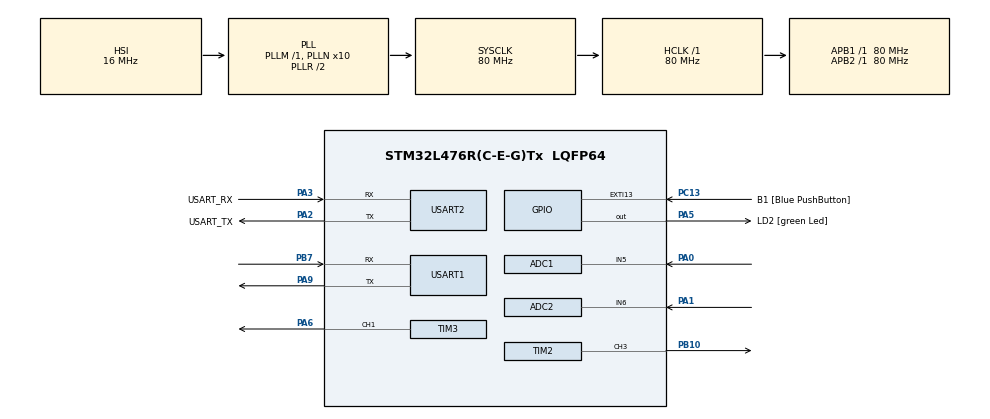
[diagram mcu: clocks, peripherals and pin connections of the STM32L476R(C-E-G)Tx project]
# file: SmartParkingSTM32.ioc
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ADC1.Channel-0\#ChannelRegularConversion=ADC_CHANNEL_5
ADC1.NbrOfConversionFlag=1
ADC1.OffsetNumber-0\#ChannelRegularConversion=ADC_OFFSET_NONE
ADC1.Rank-0\#ChannelRegularConversion=1
ADC1.SamplingTime-0\#ChannelRegularConversion=ADC_SAMPLETIME_2CYCLES_5
ADC1.master=1
ADC2.Channel-1\#ChannelRegularConversion=ADC_CHANNEL_6
ADC2.NbrOfConversionFlag=1
ADC2.OffsetNumber-1\#ChannelRegularConversion=ADC_OFFSET_NONE
ADC2.Rank-1\#ChannelRegularConversion=1
ADC2.SamplingTime-1\#ChannelRegularConversion=ADC_SAMPLETIME_2CYCLES_5
FREERTOS.Tasks01=defaultTask,0,128,StartDefaultTask,Default,NULL,Dynamic,NULL,NULL
FREERTOS.configUSE_NEWLIB_REENTRANT=1
Mcu.Family=STM32L4
Mcu.Name=STM32L476R(C-E-G)Tx
Mcu.Package=LQFP64
NVIC.ADC1_2_IRQn=true\:5\:0\:false\:false\:true\:true\:true\:true\:true
NVIC.PriorityGroup=NVIC_PRIORITYGROUP_4
NVIC.TIM1_UP_TIM16_IRQn=true\:15\:0\:false\:false\:true\:false\:false\:true\:true
NVIC.TIM2_IRQn=true\:5\:0\:false\:false\:true\:true\:true\:true\:true
NVIC.TIM3_IRQn=true\:5\:0\:false\:false\:true\:true\:true\:true\:true
NVIC.TimeBase=TIM1_UP_TIM16_IRQn
NVIC.TimeBaseIP=TIM1
NVIC.USART1_IRQn=true\:5\:0\:false\:false\:true\:true\:true\:true\:true
NVIC.USART2_IRQn=true\:5\:0\:false\:false\:true\:true\:true\:true\:true
PA0.Signal=ADCx_IN5
PA1.Signal=ADCx_IN6
PA11.Signal=S_TIM1_CH4
PA13\ (JTMS-SWDIO).GPIO_Label=TMS
PA13\ (JTMS-SWDIO).Mode=Serial_Wire
PA13\ (JTMS-SWDIO).Signal=SYS_JTMS-SWDIO
PA14\ (JTCK-SWCLK).GPIO_Label=TCK
PA14\ (JTCK-SWCLK).Mode=Serial_Wire
PA14\ (JTCK-SWCLK).Signal=SYS_JTCK-SWCLK
PA2.GPIO_Label=USART_TX
PA2.GPIO_Mode=GPIO_MODE_AF_PP
PA2.GPIO_PuPd=GPIO_NOPULL
PA2.GPIO_Speed=GPIO_SPEED_FREQ_VERY_HIGH
PA2.Mode=Asynchronous
PA2.Signal=USART2_TX
PA3.GPIO_Label=USART_RX
PA3.GPIO_Mode=GPIO_MODE_AF_PP
PA3.GPIO_PuPd=GPIO_NOPULL
PA3.GPIO_Speed=GPIO_SPEED_FREQ_VERY_HIGH
PA3.Mode=Asynchronous
PA3.Signal=USART2_RX
PA5.GPIO_Label=LD2 [green Led]
PA5.GPIO_ModeDefaultOutputPP=GPIO_MODE_OUTPUT_PP
PA5.GPIO_PuPd=GPIO_NOPULL
PA5.GPIO_Speed=GPIO_SPEED_FREQ_VERY_HIGH
PA5.Signal=GPIO_Output
PA6.Signal=S_TIM3_CH1
PA9.Mode=Asynchronous
PA9.Signal=USART1_TX
PB10.Signal=S_TIM2_CH3
PB3\ (JTDO-TRACESWO).GPIO_Label=SWO
PB3\ (JTDO-TRACESWO).Signal=SYS_JTDO-SWO
PB7.Mode=Asynchronous
PB7.Signal=USART1_RX
PC13.GPIO_Label=B1 [Blue PushButton]
PC13.GPIO_ModeDefaultEXTI=GPIO_MODE_IT_FALLING
PC13.GPIO_PuPd=GPIO_NOPULL
PC13.Signal=GPXTI13
PC14-OSC32_IN\ (PC14).Signal=RCC_OSC32_IN
PC15-OSC32_OUT\ (PC15).Signal=RCC_OSC32_OUT
PH0-OSC_IN\ (PH0).Mode=HSE-External-Oscillator
PH0-OSC_IN\ (PH0).Signal=RCC_OSC_IN
PH1-OSC_OUT\ (PH1).Mode=HSE-External-Oscillator
PH1-OSC_OUT\ (PH1).Signal=RCC_OSC_OUT
ProjectManager.HeapSize=0x200
ProjectManager.StackSize=0x400
ProjectManager.TargetToolchain=STM32CubeIDE
RCC.ADCFreq_Value=64000000
RCC.AHBFreq_Value=80000000
RCC.APB1Freq_Value=80000000
RCC.APB1TimFreq_Value=80000000
RCC.APB2Freq_Value=80000000
RCC.APB2TimFreq_Value=80000000
RCC.CortexFreq_Value=80000000
RCC.HCLKFreq_Value=80000000
RCC.HSE_VALUE=8000000
RCC.HSI_VALUE=16000000
RCC.LSE_VALUE=32768
RCC.MSI_VALUE=4000000
RCC.PLLN=10
RCC.PLLSourceVirtual=RCC_PLLSOURCE_HSI
RCC.PREFETCH_ENABLE=1
RCC.SYSCLKFreq_VALUE=80000000
RCC.SYSCLKSource=RCC_SYSCLKSOURCE_PLLCLK
RCC.USBFreq_Value=64000000
RCC.VCOOutputFreq_Value=160000000
SH.ADCx_IN5.0=ADC1_IN5,IN5-Single-Ended
SH.ADCx_IN6.0=ADC2_IN6,IN6-Single-Ended
SH.S_TIM1_CH4.0=TIM1_CH4
SH.S_TIM2_CH3.0=TIM2_CH3,PWM Generation3 CH3
SH.S_TIM3_CH1.0=TIM3_CH1,PWM Generation1 CH1
TIM2.Channel-PWM\ Generation3\ CH3=TIM_CHANNEL_3
TIM2.OCFastMode_PWM-PWM\ Generation3\ CH3=TIM_OCFAST_ENABLE
TIM2.Period=200-1
TIM2.Prescaler=127
TIM3.AutoReloadPreload=TIM_AUTORELOAD_PRELOAD_DISABLE
TIM3.Channel-PWM\ Generation1\ CH1=TIM_CHANNEL_1
TIM3.Period=2000-1
TIM3.Prescaler=127-1
USART1.VirtualMode-Asynchronous=VM_ASYNC
USART2.VirtualMode-Asynchronous=VM_ASYNC
VP_FREERTOS_VS_CMSIS_V1.Mode=CMSIS_V1
VP_SYS_VS_tim1.Mode=TIM1
VP_TIM2_VS_ClockSourceINT.Mode=Internal
VP_TIM3_VS_ClockSourceINT.Mode=Internal
board=NUCLEO-L476RG

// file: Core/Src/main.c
/* USER CODE BEGIN Header */
/**
  ******************************************************************************
  * @file           : main.c
  * @brief          : Main program body
  ******************************************************************************
  * @attention
  *
  * Copyright (c) 2022 STMicroelectronics.
  * All rights reserved.
  *
  * This software is licensed under terms that can be found in the LICENSE file
  * in the root directory of this software component.
  * If no LICENSE file comes with this software, it is provided AS-IS.
  *
  ******************************************************************************
  */
/* USER CODE END Header */
#include "main.h"
#include "cmsis_os.h"

/* USER CODE BEGIN PD */

//Tamanho das filas de transmissao e recepcao
//A fila de transmissao é maior do que a de recepcao por que a rotina de transmissao (write_string)
//pode enfileirar um numero maior de bytes de forma muito rapida
#define TX_QUEUE_SIZE 128
#define RX_QUEUE_SIZE 5
/* USER CODE END PD */

 ADC_HandleTypeDef hadc1;
ADC_HandleTypeDef hadc2;

TIM_HandleTypeDef htim2;
TIM_HandleTypeDef htim3;

osThreadId defaultTaskHandle;
/* USER CODE BEGIN PV */

//Variaveis que irao armazenar os hanldes das filas de tranmissao e recepcao
QueueHandle_t tx_queue;
QueueHandle_t rx_queue;

/*  */
//Button pressed event bit(flag)
#define BTN_PRESSED_Pos                         0U
#define BTN_PRESSED_Msk                         (1UL << BTN_PRESSED_Pos)

uint32_t pMillis;
uint32_t Value1 = 0;
uint32_t Value2 = 0;
uint16_t Distance  = 0;  // cm
char strCopy[15];

/* USER CODE END PV */

void SystemClock_Config(void);
void PeriphCommonClock_Config(void);
static void MX_GPIO_Init(void);
static void MX_USART2_UART_Init(void);
static void MX_USART1_UART_Init(void);
static void MX_ADC1_Init(void);
static void MX_TIM2_Init(void);
static void MX_ADC2_Init(void);
static void MX_TIM3_Init(void);
void StartDefaultTask(void const * argument);

/* USER CODE BEGIN PFP */

void task_PotentiometerSensor(void * argument);

/* Declare a variable to hold the created event group. */
static        EventGroupHandle_t xFlagsEventGroup;

/* USER CODE END PFP */

/* USER CODE BEGIN 0 */

//Tamanho das filas de transmissao e recepcao
//A fila de transmissao é maior do que a de recepcao por que a rotina de transmissao (write_string)
//pode enfileirar um numero maior de bytes de forma muito rapida
#define TX_QUEUE_SIZE 128
#define RX_QUEUE_SIZE 5

#define USART_1 1
#define USART_2 2

#define task_PRIO (configMAX_PRIORITIES - 1)

#define MAX_TEMPERATURE 100
#define MAX_INTENSITY 1200
#define EXP_CONST 0.3
#define MAX_VOLTAGE 4095

//Variaveis que irao armazenar os hanldes das filas de tranmissao e recepcao
QueueHandle_t tx_queue_1;
QueueHandle_t rx_queue_1;

QueueHandle_t tx_queue_2;
QueueHandle_t rx_queue_2;

SemaphoreHandle_t uart_1_mutex = NULL;
SemaphoreHandle_t uart_2_mutex = NULL;

void sendchar(char c, char usart){
	if(usart == USART_1){
		LL_USART_EnableIT_TXE(USART1);
		xQueueSend(tx_queue_1, &c, HAL_MAX_DELAY);

	}
	else if( usart == USART_2){
		xQueueSend(tx_queue_2, &c, HAL_MAX_DELAY);
		LL_USART_EnableIT_TXE(USART2);
	}
}

void sendString(char * str, char usart){
	while(*str != 0){
		sendchar(*str, usart);
		str++;
	}
}

char readchar(char usart){
	uint8_t caracter=0;
	if(usart == USART_1)
		xQueueReceive(rx_queue_1, &caracter, HAL_MAX_DELAY);
	else if(usart == USART_2)
		xQueueReceive(rx_queue_2, &caracter, HAL_MAX_DELAY);
		return caracter;
}

int16_t getPotentiometerSensor(void) {
	HAL_ADC_Start(&hadc1);
	HAL_ADC_PollForConversion(&hadc1, HAL_MAX_DELAY);
	return HAL_ADC_GetValue(&hadc1);
}

void potentiometerSensor(void * vParam){
	while(1)
	{
		int16_t valor = getPotentiometerSensor() * 18 / 4095;
		char valorString[9];
		sprintf(valorString,"P%d\r\n", valor);
		sendString(valorString, USART_1);
		vTaskDelay(1000);
	}
}

void user_pwm_setvalue(uint16_t value);

void pwm_task(void * vParam)
{
	int pwm_value = 1000;
	int step = 100;
	while(1)
	{
		vTaskDelay(100);
		if(pwm_value == 0) step = 100;
		if(pwm_value == 2000) step = -100;
		pwm_value += step;
		user_pwm_setvalue(pwm_value);
	}
}

int16_t readVoltageLdr(void) {
	HAL_ADC_Start(&hadc2);
	HAL_ADC_PollForConversion(&hadc2, HAL_MAX_DELAY);
	return HAL_ADC_GetValue(&hadc2);
}

void ldr(void *vParam) {
	while (1) {
		int16_t intensity = readVoltageLdr();
		//HAL_GPIO_WritePin(GPIOA, GPIO_PIN_5, 200);
		char valorString[9];
		sprintf(valorString,"I%d\r\n", intensity);
		sendString(valorString, USART_1);
		vTaskDelay(1000);
		user_pwm_setvalue(intensity);
		//vTaskDelay(100);
	}
}

//Rotina de tratamento de interrupcao da USART2
void USART_2_IRQHandler(void)
{
	//Se for interrupcao de transmissao
	if (LL_USART_IsActiveFlag_TXE(USART2)) {
		BaseType_t contextSwitch;
		while (LL_USART_IsActiveFlag_TXE(USART2)) {
			uint8_t byte;
			//Desinfileira um byte para tranmistir
			if (xQueueReceiveFromISR(tx_queue_2, &byte, &contextSwitch) == pdFAIL) {
				//Se a fila de transmissao esta vazia, encerra a transmissao
				LL_USART_DisableIT_TXE(USART2);
				break;
			}
			//Envia o byte retirado da fila de transmisao
			LL_USART_TransmitData8(USART2, byte);
		}
		portYIELD_FROM_ISR(contextSwitch);
	}
	//Se for interrupcao de recepcao
	if (LL_USART_IsActiveFlag_RXNE(USART2)) {
		BaseType_t contextSwitch;
		while (LL_USART_IsActiveFlag_RXNE(USART2)) {
			//Copia o byte do regstrador de recepcao
			uint8_t byte =
			LL_USART_ReceiveData8(USART2);
			//Enfileira o byte recebido na fila de recepcao
			xQueueSendFromISR(rx_queue_2, &byte, &contextSwitch);
			// xQueueSendFromISR can return errQUEUE_FULL
		}
		portYIELD_FROM_ISR(contextSwitch);
	}
}

//Rotina de trtaamento da ISR da UART 1
void USART_1_IRQHandler(void)
{
	//Se for interrupcao de transmissao
	if (LL_USART_IsActiveFlag_TXE(USART1)) {
		BaseType_t contextSwitch;
		while (LL_USART_IsActiveFlag_TXE(USART1)) {
			uint8_t byte;
			//Desinfileira um byte para tranmistir
			if (xQueueReceiveFromISR(tx_queue_1, &byte, &contextSwitch) == pdFAIL) {
				//Se a fila de transmissao esta vazia, encerra a transmissao
				LL_USART_DisableIT_TXE(USART1);
				break;
			}
			//Envia o byte retirado da fila de transmisao
			LL_USART_TransmitData8(USART1, byte);
		}
		portYIELD_FROM_ISR(contextSwitch);
	}
	//Se for interrupcao de recepcao
	if (LL_USART_IsActiveFlag_RXNE(USART1)) {
		BaseType_t contextSwitch;
		while (LL_USART_IsActiveFlag_RXNE(USART1)) {
			//Copia o byte do regstrador de recepcao
			uint8_t byte =
			LL_USART_ReceiveData8(USART1);
			//Enfileira o byte recebido na fila de recepcao
			xQueueSendFromISR(rx_queue_1, &byte, &contextSwitch);
			// xQueueSendFromISR can return errQUEUE_FULL
		}
		portYIELD_FROM_ISR(contextSwitch);
	}
}

/* USER CODE END 0 */

int main(void)
{

  /* MCU Configuration--------------------------------------------------------*/

  /* Reset of all peripherals, Initializes the Flash interface and the Systick. */
  HAL_Init();

  /* Configure the system clock */
  SystemClock_Config();

/* Configure the peripherals common clocks */
  PeriphCommonClock_Config();

  /* Initialize all configured peripherals */
  MX_GPIO_Init();
  MX_USART2_UART_Init();
  MX_USART1_UART_Init();
  MX_ADC1_Init();
  MX_TIM2_Init();
  MX_ADC2_Init();
  MX_TIM3_Init();
  /* USER CODE BEGIN 2 */

  HAL_TIM_PWM_Start(&htim2, TIM_CHANNEL_3);

  /* USER CODE END 2 */

  /* Create the thread(s) */
  /* definition and creation of defaultTask */
  osThreadDef(defaultTask, StartDefaultTask, osPriorityNormal, 0, 128);
  defaultTaskHandle = osThreadCreate(osThread(defaultTask), NULL);

  /* USER CODE BEGIN RTOS_THREADS */
  xFlagsEventGroup = xEventGroupCreate();
  xTaskCreate(potentiometerSensor, "potentiometerSensor", configMINIMAL_STACK_SIZE, NULL, task_PRIO, NULL);
  xTaskCreate(ldr, "ldr", configMINIMAL_STACK_SIZE, NULL, 1 , NULL);

  /* add threads, ... */
  /* USER CODE END RTOS_THREADS */

  /* Start scheduler */
  osKernelStart();

  /* We should never get here as control is now taken by the scheduler */
  /* Infinite loop */
  while (1)
  {

  }
}

void SystemClock_Config(void)
{
  RCC_OscInitTypeDef RCC_OscInitStruct = {0};
  RCC_ClkInitTypeDef RCC_ClkInitStruct = {0};

  /** Configure the main internal regulator output voltage
  */
  if (HAL_PWREx_ControlVoltageScaling(PWR_REGULATOR_VOLTAGE_SCALE1) != HAL_OK)
  {
    Error_Handler();
  }

  /** Initializes the RCC Oscillators according to the specified parameters
  * in the RCC_OscInitTypeDef structure.
  */
  RCC_OscInitStruct.OscillatorType = RCC_OSCILLATORTYPE_HSI;
  RCC_OscInitStruct.HSIState = RCC_HSI_ON;
  RCC_OscInitStruct.HSICalibrationValue = RCC_HSICALIBRATION_DEFAULT;
  RCC_OscInitStruct.PLL.PLLState = RCC_PLL_ON;
  RCC_OscInitStruct.PLL.PLLSource = RCC_PLLSOURCE_HSI;
  RCC_OscInitStruct.PLL.PLLM = 1;
  RCC_OscInitStruct.PLL.PLLN = 10;
  RCC_OscInitStruct.PLL.PLLP = RCC_PLLP_DIV7;
  RCC_OscInitStruct.PLL.PLLQ = RCC_PLLQ_DIV2;
  RCC_OscInitStruct.PLL.PLLR = RCC_PLLR_DIV2;
  if (HAL_RCC_OscConfig(&RCC_OscInitStruct) != HAL_OK)
  {
    Error_Handler();
  }

  /** Initializes the CPU, AHB and APB buses clocks
  */
  RCC_ClkInitStruct.ClockType = RCC_CLOCKTYPE_HCLK|RCC_CLOCKTYPE_SYSCLK
                              |RCC_CLOCKTYPE_PCLK1|RCC_CLOCKTYPE_PCLK2;
  RCC_ClkInitStruct.SYSCLKSource = RCC_SYSCLKSOURCE_PLLCLK;
  RCC_ClkInitStruct.AHBCLKDivider = RCC_SYSCLK_DIV1;
  RCC_ClkInitStruct.APB1CLKDivider = RCC_HCLK_DIV1;
  RCC_ClkInitStruct.APB2CLKDivider = RCC_HCLK_DIV1;

  if (HAL_RCC_ClockConfig(&RCC_ClkInitStruct, FLASH_LATENCY_4) != HAL_OK)
  {
    Error_Handler();
  }
}

void PeriphCommonClock_Config(void)
{
  RCC_PeriphCLKInitTypeDef PeriphClkInit = {0};

  /** Initializes the peripherals clock
  */
  PeriphClkInit.PeriphClockSelection = RCC_PERIPHCLK_ADC;
  PeriphClkInit.AdcClockSelection = RCC_ADCCLKSOURCE_PLLSAI1;
  PeriphClkInit.PLLSAI1.PLLSAI1Source = RCC_PLLSOURCE_HSI;
  PeriphClkInit.PLLSAI1.PLLSAI1M = 1;
  PeriphClkInit.PLLSAI1.PLLSAI1N = 8;
  PeriphClkInit.PLLSAI1.PLLSAI1P = RCC_PLLP_DIV7;
  PeriphClkInit.PLLSAI1.PLLSAI1Q = RCC_PLLQ_DIV2;
  PeriphClkInit.PLLSAI1.PLLSAI1R = RCC_PLLR_DIV2;
  PeriphClkInit.PLLSAI1.PLLSAI1ClockOut = RCC_PLLSAI1_ADC1CLK;
  if (HAL_RCCEx_PeriphCLKConfig(&PeriphClkInit) != HAL_OK)
  {
    Error_Handler();
  }
}

static void MX_ADC1_Init(void)
{

  ADC_MultiModeTypeDef multimode = {0};
  ADC_ChannelConfTypeDef sConfig = {0};

  /** Common config
  */
  hadc1.Instance = ADC1;
  hadc1.Init.ClockPrescaler = ADC_CLOCK_ASYNC_DIV1;
  hadc1.Init.Resolution = ADC_RESOLUTION_12B;
  hadc1.Init.DataAlign = ADC_DATAALIGN_RIGHT;
  hadc1.Init.ScanConvMode = ADC_SCAN_DISABLE;
  hadc1.Init.EOCSelection = ADC_EOC_SINGLE_CONV;
  hadc1.Init.LowPowerAutoWait = DISABLE;
  hadc1.Init.ContinuousConvMode = DISABLE;
  hadc1.Init.NbrOfConversion = 1;
  hadc1.Init.DiscontinuousConvMode = DISABLE;
  hadc1.Init.ExternalTrigConv = ADC_SOFTWARE_START;
  hadc1.Init.ExternalTrigConvEdge = ADC_EXTERNALTRIGCONVEDGE_NONE;
  hadc1.Init.DMAContinuousRequests = DISABLE;
  hadc1.Init.Overrun = ADC_OVR_DATA_PRESERVED;
  hadc1.Init.OversamplingMode = DISABLE;
  if (HAL_ADC_Init(&hadc1) != HAL_OK)
  {
    Error_Handler();
  }

  /** Configure the ADC multi-mode
  */
  multimode.Mode = ADC_MODE_INDEPENDENT;
  if (HAL_ADCEx_MultiModeConfigChannel(&hadc1, &multimode) != HAL_OK)
  {
    Error_Handler();
  }

  /** Configure Regular Channel
  */
  sConfig.Channel = ADC_CHANNEL_5;
  sConfig.Rank = ADC_REGULAR_RANK_1;
  sConfig.SamplingTime = ADC_SAMPLETIME_2CYCLES_5;
  sConfig.SingleDiff = ADC_SINGLE_ENDED;
  sConfig.OffsetNumber = ADC_OFFSET_NONE;
  sConfig.Offset = 0;
  if (HAL_ADC_ConfigChannel(&hadc1, &sConfig) != HAL_OK)
  {
    Error_Handler();
  }

}

static void MX_ADC2_Init(void)
{

  ADC_ChannelConfTypeDef sConfig = {0};

  /** Common config
  */
  hadc2.Instance = ADC2;
  hadc2.Init.ClockPrescaler = ADC_CLOCK_ASYNC_DIV1;
  hadc2.Init.Resolution = ADC_RESOLUTION_12B;
  hadc2.Init.DataAlign = ADC_DATAALIGN_RIGHT;
  hadc2.Init.ScanConvMode = ADC_SCAN_DISABLE;
  hadc2.Init.EOCSelection = ADC_EOC_SINGLE_CONV;
  hadc2.Init.LowPowerAutoWait = DISABLE;
  hadc2.Init.ContinuousConvMode = DISABLE;
  hadc2.Init.NbrOfConversion = 1;
  hadc2.Init.DiscontinuousConvMode = DISABLE;
  hadc2.Init.ExternalTrigConv = ADC_SOFTWARE_START;
  hadc2.Init.ExternalTrigConvEdge = ADC_EXTERNALTRIGCONVEDGE_NONE;
  hadc2.Init.DMAContinuousRequests = DISABLE;
  hadc2.Init.Overrun = ADC_OVR_DATA_PRESERVED;
  hadc2.Init.OversamplingMode = DISABLE;
  if (HAL_ADC_Init(&hadc2) != HAL_OK)
  {
    Error_Handler();
  }

  /** Configure Regular Channel
  */
  sConfig.Channel = ADC_CHANNEL_6;
  sConfig.Rank = ADC_REGULAR_RANK_1;
  sConfig.SamplingTime = ADC_SAMPLETIME_2CYCLES_5;
  sConfig.SingleDiff = ADC_SINGLE_ENDED;
  sConfig.OffsetNumber = ADC_OFFSET_NONE;
  sConfig.Offset = 0;
  if (HAL_ADC_ConfigChannel(&hadc2, &sConfig) != HAL_OK)
  {
    Error_Handler();
  }

}

static void MX_TIM2_Init(void)
{

  TIM_ClockConfigTypeDef sClockSourceConfig = {0};
  TIM_MasterConfigTypeDef sMasterConfig = {0};
  TIM_OC_InitTypeDef sConfigOC = {0};

  htim2.Instance = TIM2;
  htim2.Init.Prescaler = 127;
  htim2.Init.CounterMode = TIM_COUNTERMODE_UP;
  htim2.Init.Period = 200-1;
  htim2.Init.ClockDivision = TIM_CLOCKDIVISION_DIV1;
  htim2.Init.AutoReloadPreload = TIM_AUTORELOAD_PRELOAD_DISABLE;
  if (HAL_TIM_Base_Init(&htim2) != HAL_OK)
  {
    Error_Handler();
  }
  sClockSourceConfig.ClockSource = TIM_CLOCKSOURCE_INTERNAL;
  if (HAL_TIM_ConfigClockSource(&htim2, &sClockSourceConfig) != HAL_OK)
  {
    Error_Handler();
  }
  if (HAL_TIM_PWM_Init(&htim2) != HAL_OK)
  {
    Error_Handler();
  }
  sMasterConfig.MasterOutputTrigger = TIM_TRGO_RESET;
  sMasterConfig.MasterSlaveMode = TIM_MASTERSLAVEMODE_DISABLE;
  if (HAL_TIMEx_MasterConfigSynchronization(&htim2, &sMasterConfig) != HAL_OK)
  {
    Error_Handler();
  }
  sConfigOC.OCMode = TIM_OCMODE_PWM1;
  sConfigOC.Pulse = 0;
  sConfigOC.OCPolarity = TIM_OCPOLARITY_HIGH;
  sConfigOC.OCFastMode = TIM_OCFAST_ENABLE;
  if (HAL_TIM_PWM_ConfigChannel(&htim2, &sConfigOC, TIM_CHANNEL_3) != HAL_OK)
  {
    Error_Handler();
  }
  HAL_TIM_MspPostInit(&htim2);

}

static void MX_TIM3_Init(void)
{

  TIM_ClockConfigTypeDef sClockSourceConfig = {0};
  TIM_MasterConfigTypeDef sMasterConfig = {0};
  TIM_OC_InitTypeDef sConfigOC = {0};

  htim3.Instance = TIM3;
  htim3.Init.Prescaler = 127-1;
  htim3.Init.CounterMode = TIM_COUNTERMODE_UP;
  htim3.Init.Period = 2000-1;
  htim3.Init.ClockDivision = TIM_CLOCKDIVISION_DIV1;
  htim3.Init.AutoReloadPreload = TIM_AUTORELOAD_PRELOAD_DISABLE;
  if (HAL_TIM_Base_Init(&htim3) != HAL_OK)
  {
    Error_Handler();
  }
  sClockSourceConfig.ClockSource = TIM_CLOCKSOURCE_INTERNAL;
  if (HAL_TIM_ConfigClockSource(&htim3, &sClockSourceConfig) != HAL_OK)
  {
    Error_Handler();
  }
  if (HAL_TIM_PWM_Init(&htim3) != HAL_OK)
  {
    Error_Handler();
  }
  sMasterConfig.MasterOutputTrigger = TIM_TRGO_RESET;
  sMasterConfig.MasterSlaveMode = TIM_MASTERSLAVEMODE_DISABLE;
  if (HAL_TIMEx_MasterConfigSynchronization(&htim3, &sMasterConfig) != HAL_OK)
  {
    Error_Handler();
  }
  sConfigOC.OCMode = TIM_OCMODE_PWM1;
  sConfigOC.Pulse = 0;
  sConfigOC.OCPolarity = TIM_OCPOLARITY_HIGH;
  sConfigOC.OCFastMode = TIM_OCFAST_DISABLE;
  if (HAL_TIM_PWM_ConfigChannel(&htim3, &sConfigOC, TIM_CHANNEL_1) != HAL_OK)
  {
    Error_Handler();
  }
  HAL_TIM_MspPostInit(&htim3);

}

static void MX_USART1_UART_Init(void)
{

  LL_USART_InitTypeDef USART_InitStruct = {0};

  LL_GPIO_InitTypeDef GPIO_InitStruct = {0};
  RCC_PeriphCLKInitTypeDef PeriphClkInit = {0};

  /** Initializes the peripherals clock
  */
  PeriphClkInit.PeriphClockSelection = RCC_PERIPHCLK_USART1;
  PeriphClkInit.Usart1ClockSelection = RCC_USART1CLKSOURCE_PCLK2;
  if (HAL_RCCEx_PeriphCLKConfig(&PeriphClkInit) != HAL_OK)
  {
    Error_Handler();
  }

  /* Peripheral clock enable */
  LL_APB2_GRP1_EnableClock(LL_APB2_GRP1_PERIPH_USART1);

  LL_AHB2_GRP1_EnableClock(LL_AHB2_GRP1_PERIPH_GPIOA);
  LL_AHB2_GRP1_EnableClock(LL_AHB2_GRP1_PERIPH_GPIOB);
  /**USART1 GPIO Configuration
  PA9   ------> USART1_TX
  PB7   ------> USART1_RX
  */
  GPIO_InitStruct.Pin = LL_GPIO_PIN_9;
  GPIO_InitStruct.Mode = LL_GPIO_MODE_ALTERNATE;
  GPIO_InitStruct.Speed = LL_GPIO_SPEED_FREQ_VERY_HIGH;
  GPIO_InitStruct.OutputType = LL_GPIO_OUTPUT_PUSHPULL;
  GPIO_InitStruct.Pull = LL_GPIO_PULL_NO;
  GPIO_InitStruct.Alternate = LL_GPIO_AF_7;
  LL_GPIO_Init(GPIOA, &GPIO_InitStruct);

  GPIO_InitStruct.Pin = LL_GPIO_PIN_7;
  GPIO_InitStruct.Mode = LL_GPIO_MODE_ALTERNATE;
  GPIO_InitStruct.Speed = LL_GPIO_SPEED_FREQ_VERY_HIGH;
  GPIO_InitStruct.OutputType = LL_GPIO_OUTPUT_PUSHPULL;
  GPIO_InitStruct.Pull = LL_GPIO_PULL_NO;
  GPIO_InitStruct.Alternate = LL_GPIO_AF_7;
  LL_GPIO_Init(GPIOB, &GPIO_InitStruct);

  /* USART1 interrupt Init */
  NVIC_SetPriority(USART1_IRQn, NVIC_EncodePriority(NVIC_GetPriorityGrouping(),5, 0));
  NVIC_EnableIRQ(USART1_IRQn);

  USART_InitStruct.BaudRate = 115200;
  USART_InitStruct.DataWidth = LL_USART_DATAWIDTH_8B;
  USART_InitStruct.StopBits = LL_USART_STOPBITS_1;
  USART_InitStruct.Parity = LL_USART_PARITY_NONE;
  USART_InitStruct.TransferDirection = LL_USART_DIRECTION_TX_RX;
  USART_InitStruct.HardwareFlowControl = LL_USART_HWCONTROL_NONE;
  USART_InitStruct.OverSampling = LL_USART_OVERSAMPLING_16;
  LL_USART_Init(USART1, &USART_InitStruct);
  LL_USART_ConfigAsyncMode(USART1);
  LL_USART_Enable(USART1);
  /* USER CODE BEGIN USART1_Init 2 */

  //Inicializa as filas de transmissao e recepcao
  tx_queue_1 = xQueueCreate(TX_QUEUE_SIZE, sizeof(uint8_t));
  rx_queue_1 = xQueueCreate(RX_QUEUE_SIZE, sizeof(uint8_t));
  //Habilita a interrupcao de recepcao pela USART2
  LL_USART_EnableIT_RXNE(USART1);

  /* USER CODE END USART1_Init 2 */

}

static void MX_USART2_UART_Init(void)
{

  LL_USART_InitTypeDef USART_InitStruct = {0};

  LL_GPIO_InitTypeDef GPIO_InitStruct = {0};
  RCC_PeriphCLKInitTypeDef PeriphClkInit = {0};

  /** Initializes the peripherals clock
  */
  PeriphClkInit.PeriphClockSelection = RCC_PERIPHCLK_USART2;
  PeriphClkInit.Usart2ClockSelection = RCC_USART2CLKSOURCE_PCLK1;
  if (HAL_RCCEx_PeriphCLKConfig(&PeriphClkInit) != HAL_OK)
  {
    Error_Handler();
  }

  /* Peripheral clock enable */
  LL_APB1_GRP1_EnableClock(LL_APB1_GRP1_PERIPH_USART2);

  LL_AHB2_GRP1_EnableClock(LL_AHB2_GRP1_PERIPH_GPIOA);
  /**USART2 GPIO Configuration
  PA2   ------> USART2_TX
  PA3   ------> USART2_RX
  */
  GPIO_InitStruct.Pin = LL_GPIO_PIN_2|LL_GPIO_PIN_3;
  GPIO_InitStruct.Mode = LL_GPIO_MODE_ALTERNATE;
  GPIO_InitStruct.Speed = LL_GPIO_SPEED_FREQ_VERY_HIGH;
  GPIO_InitStruct.OutputType = LL_GPIO_OUTPUT_PUSHPULL;
  GPIO_InitStruct.Pull = LL_GPIO_PULL_NO;
  GPIO_InitStruct.Alternate = LL_GPIO_AF_7;
  LL_GPIO_Init(GPIOA, &GPIO_InitStruct);

  /* USART2 interrupt Init */
  NVIC_SetPriority(USART2_IRQn, NVIC_EncodePriority(NVIC_GetPriorityGrouping(),5, 0));
  NVIC_EnableIRQ(USART2_IRQn);

  USART_InitStruct.BaudRate = 115200;
  USART_InitStruct.DataWidth = LL_USART_DATAWIDTH_8B;
  USART_InitStruct.StopBits = LL_USART_STOPBITS_1;
  USART_InitStruct.Parity = LL_USART_PARITY_NONE;
  USART_InitStruct.TransferDirection = LL_USART_DIRECTION_TX_RX;
  USART_InitStruct.HardwareFlowControl = LL_USART_HWCONTROL_NONE;
  USART_InitStruct.OverSampling = LL_USART_OVERSAMPLING_16;
  LL_USART_Init(USART2, &USART_InitStruct);
  LL_USART_ConfigAsyncMode(USART2);
  LL_USART_Enable(USART2);
  /* USER CODE BEGIN USART2_Init 2 */
  //Inicializa as filas de transmissao e recepcao
  tx_queue_2 = xQueueCreate(TX_QUEUE_SIZE, sizeof(uint8_t));
  rx_queue_2 = xQueueCreate(RX_QUEUE_SIZE, sizeof(uint8_t));
  //Habilita a interrupcao de recepcao pela USART2
  LL_USART_EnableIT_RXNE(USART2);
  /* USER CODE END USART2_Init 2 */

}

static void MX_GPIO_Init(void)
{
  GPIO_InitTypeDef GPIO_InitStruct = {0};

  /* GPIO Ports Clock Enable */
  __HAL_RCC_GPIOC_CLK_ENABLE();
  __HAL_RCC_GPIOH_CLK_ENABLE();
  __HAL_RCC_GPIOA_CLK_ENABLE();
  __HAL_RCC_GPIOB_CLK_ENABLE();

  /*Configure GPIO pin Output Level */
  HAL_GPIO_WritePin(LD2_GPIO_Port, LD2_Pin, GPIO_PIN_RESET);

  /*Configure GPIO pin : B1_Pin */
  GPIO_InitStruct.Pin = B1_Pin;
  GPIO_InitStruct.Mode = GPIO_MODE_IT_FALLING;
  GPIO_InitStruct.Pull = GPIO_NOPULL;
  HAL_GPIO_Init(B1_GPIO_Port, &GPIO_InitStruct);

  /*Configure GPIO pin : LD2_Pin */
  GPIO_InitStruct.Pin = LD2_Pin;
  GPIO_InitStruct.Mode = GPIO_MODE_OUTPUT_PP;
  GPIO_InitStruct.Pull = GPIO_NOPULL;
  GPIO_InitStruct.Speed = GPIO_SPEED_FREQ_VERY_HIGH;
  HAL_GPIO_Init(LD2_GPIO_Port, &GPIO_InitStruct);

  /*Configure GPIO pin : PA11 */
  GPIO_InitStruct.Pin = GPIO_PIN_11;
  GPIO_InitStruct.Mode = GPIO_MODE_AF_PP;
  GPIO_InitStruct.Pull = GPIO_NOPULL;
  GPIO_InitStruct.Speed = GPIO_SPEED_FREQ_LOW;
  GPIO_InitStruct.Alternate = GPIO_AF1_TIM1;
  HAL_GPIO_Init(GPIOA, &GPIO_InitStruct);

}

/* USER CODE BEGIN 4 */

void user_pwm_setvalue(uint16_t value)
{
   HAL_TIM_PWM_Stop(&htim2, TIM_CHANNEL_3);
   TIM_OC_InitTypeDef sConfigOC;

    sConfigOC.OCMode = TIM_OCMODE_PWM1;
    sConfigOC.Pulse = value;
    sConfigOC.OCPolarity = TIM_OCPOLARITY_HIGH;
    sConfigOC.OCFastMode = TIM_OCFAST_DISABLE;
    HAL_TIM_PWM_ConfigChannel(&htim2, &sConfigOC, TIM_CHANNEL_3);
    HAL_TIM_PWM_Start(&htim2, TIM_CHANNEL_3);
}

/* USER CODE END 4 */

void StartDefaultTask(void const * argument)
{
  for(;;)
  {
    osDelay(1);
  }
}

void HAL_TIM_PeriodElapsedCallback(TIM_HandleTypeDef *htim)
{
  if (htim->Instance == TIM1) {
    HAL_IncTick();
  }
}

void Error_Handler(void)
{
  __disable_irq();
  while (1)
  {
  }
}
